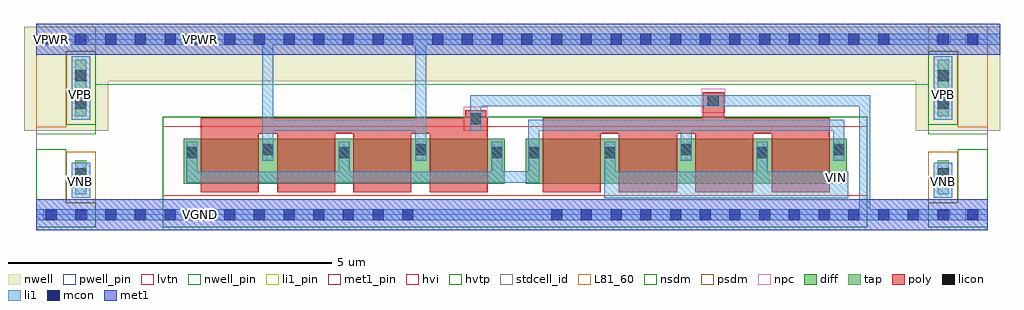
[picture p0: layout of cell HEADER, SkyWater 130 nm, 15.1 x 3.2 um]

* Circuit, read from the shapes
.subckt HEADER VGND VIN VNB VPB VPWR
XM1 VPWR VGND n1 VNB sky130_fd_pr__nfet_05v0_nvt w=0.7 l=0.9 m=4
XM2 VIN VGND n1 VNB sky130_fd_pr__nfet_05v0_nvt w=0.7 l=0.9 m=4
.ends

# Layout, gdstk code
import gdstk
lib = gdstk.Library(unit=1e-6, precision=1e-09)
def R(c, l, rs):  # rectangles x0, y0, x1, y1
    for r in rs: c.add(gdstk.rectangle(r[:2], r[2:], *l))
def A(c, l, x, y, w, h, nx, ny, dx, dy):  # array of equal rectangles
    R(c, l, [(x+i*dx, y+j*dy, x+i*dx+w, y+j*dy+h) for i in range(nx) for j in range(ny)])
nwell_pin = (64, 16)
nwell = (64, 20)
diff = (65, 20)
tap = (65, 44)
poly = (66, 20)
licon = (66, 44)
li1_pin = (67, 16)
li1 = (67, 20)
mcon = (67, 44)
met1_pin = (68, 16)
met1 = (68, 20)
hvi = (75, 20)
hvtp = (78, 44)
stdcell_id = (81, 4)
L81_60 = (81, 60)
nsdm = (93, 44)
psdm = (94, 20)
npc = (95, 20)
pwell_pin = (122, 16)
lvtn = (125, 44)

sky130_fd_sc_hd__tap_1 = lib.new_cell('sky130_fd_sc_hd__tap_1')
R(sky130_fd_sc_hd__tap_1, nwell, [(-0.19,1.305,0.65,2.91)])
R(sky130_fd_sc_hd__tap_1, tap, [(0.145,0.32,0.315,0.845), (0.145,1.525,0.315,2.4)])
R(sky130_fd_sc_hd__tap_1, licon, [(0.145,0.555,0.315,0.725), (0.145,1.645,0.315,1.815), (0.145,2.065,0.315,2.235)])
R(sky130_fd_sc_hd__tap_1, li1_pin, [(0.19,0.47,0.27,0.565), (0.145,1.81,0.285,1.93)])
R(sky130_fd_sc_hd__tap_1, li1, [(0.085,0.265,0.375,0.81), (0.085,1.47,0.375,2.455)])
R(sky130_fd_sc_hd__tap_1, mcon, [(0.145,-0.085,0.315,0.085), (0.145,2.635,0.315,2.805)])
R(sky130_fd_sc_hd__tap_1, met1_pin, [(0.14,-0.05,0.34,0.07), (0.13,2.675,0.345,2.775)])
R(sky130_fd_sc_hd__tap_1, hvtp, [(0,1.25,0.46,2.72)])
R(sky130_fd_sc_hd__tap_1, stdcell_id, [(0,0,0.46,2.72)])
R(sky130_fd_sc_hd__tap_1, nsdm, [(0,-0.19,0.46,0.19), (0,1.395,0.46,2.53)])
R(sky130_fd_sc_hd__tap_1, psdm, [(0,0.19,0.46,0.975), (0,2.53,0.46,2.91)])
sky130_fd_sc_hd__tap_1.add(gdstk.FlexPath([(0,2.72),(0.46,2.72)], 0.48, ends="flush", simple_path=True, layer=68, datatype=20))  # met1
sky130_fd_sc_hd__tap_1.add(gdstk.FlexPath([(0,0),(0.46,0)], 0.48, ends="flush", simple_path=True, layer=68, datatype=20))  # met1
sky130_fd_sc_hd__tap_1.add(gdstk.FlexPath([(0,0),(0.46,0)], 0.17, ends="flush", simple_path=True, layer=67, datatype=20))  # li1
sky130_fd_sc_hd__tap_1.add(gdstk.FlexPath([(0,2.72),(0.46,2.72)], 0.17, ends="flush", simple_path=True, layer=67, datatype=20))  # li1
sky130_fd_sc_hd__tap_1.add(gdstk.Label('VGND', (0.23,0), layer=68, texttype=5))
sky130_fd_sc_hd__tap_1.add(gdstk.Label('VPWR', (0.23,2.72), layer=68, texttype=5))
sky130_fd_sc_hd__tap_1.add(gdstk.Label('VNB', (0.23,0.51), layer=67, texttype=5))
sky130_fd_sc_hd__tap_1.add(gdstk.Label('VPB', (0.23,1.87), layer=67, texttype=5))
sky130_fd_sc_hd__tap_1.add(gdstk.Label('tap_1', (0,0), layer=83, texttype=44))

sky130_fd_sc_hd__fill_1 = lib.new_cell('sky130_fd_sc_hd__fill_1')
R(sky130_fd_sc_hd__fill_1, nwell_pin, [(0.155,2.67,0.255,2.755)])
R(sky130_fd_sc_hd__fill_1, nwell, [(-0.19,1.305,0.65,2.91)])
R(sky130_fd_sc_hd__fill_1, mcon, [(0.145,-0.085,0.315,0.085), (0.145,2.635,0.315,2.805)])
R(sky130_fd_sc_hd__fill_1, met1_pin, [(0.11,-0.065,0.29,0.08), (0.11,2.635,0.29,2.785)])
R(sky130_fd_sc_hd__fill_1, hvtp, [(0,1.25,0.46,2.72)])
R(sky130_fd_sc_hd__fill_1, stdcell_id, [(0,0,0.46,2.72)])
R(sky130_fd_sc_hd__fill_1, nsdm, [(0,-0.19,0.46,1.015)])
R(sky130_fd_sc_hd__fill_1, psdm, [(0,1.355,0.46,2.91)])
R(sky130_fd_sc_hd__fill_1, pwell_pin, [(0.14,-0.055,0.26,0.055)])
sky130_fd_sc_hd__fill_1.add(gdstk.FlexPath([(0,0),(0.46,0)], 0.17, ends="flush", simple_path=True, layer=67, datatype=20))  # li1
sky130_fd_sc_hd__fill_1.add(gdstk.FlexPath([(0,2.72),(0.46,2.72)], 0.17, ends="flush", simple_path=True, layer=67, datatype=20))  # li1
sky130_fd_sc_hd__fill_1.add(gdstk.FlexPath([(0,2.72),(0.46,2.72)], 0.48, ends="flush", simple_path=True, layer=68, datatype=20))  # met1
sky130_fd_sc_hd__fill_1.add(gdstk.FlexPath([(0,0),(0.46,0)], 0.48, ends="flush", simple_path=True, layer=68, datatype=20))  # met1
sky130_fd_sc_hd__fill_1.add(gdstk.Label('VPWR', (0.205,2.72), layer=68, texttype=5))
sky130_fd_sc_hd__fill_1.add(gdstk.Label('VGND', (0.205,0), layer=68, texttype=5))
sky130_fd_sc_hd__fill_1.add(gdstk.Label('VPB', (0.23,2.72), layer=64, texttype=5))
sky130_fd_sc_hd__fill_1.add(gdstk.Label('VNB', (0.23,0), layer=64, texttype=59))
sky130_fd_sc_hd__fill_1.add(gdstk.Label('fill_1', (0,0), layer=83, texttype=44))

header = lib.new_cell('HEADER')
R(header, nwell, [(1.11,2.07,13.61,2.91)])
R(header, diff, [(2.28,0.48,7.25,1.18), (7.57,0.48,12.54,1.18)])
A(header, poly, 2.545, 0.35, 0.9, 0.905, 4, 1, 1.18, 0)
A(header, poly, 7.835, 0.35, 0.9, 0.905, 4, 1, 1.18, 0)
R(header, poly, [(2.545,1.255,6.985,1.505), (7.835,1.255,12.275,1.505), (6.635,1.505,6.965,1.62), (10.31,1.505,10.64,1.9)])
A(header, licon, 2.32, 0.88, 0.17, 0.17, 3, 1, 2.36, 0)
R(header, licon, [(7.61,0.88,7.78,1.05), (8.79,0.88,8.96,1.05), (11.15,0.88,11.32,1.05), (3.495,0.92,3.665,1.09), (5.86,0.92,6.03,1.09), (9.97,0.92,10.14,1.09), (12.33,0.92,12.5,1.09), (6.715,1.4,6.885,1.57), (10.39,1.68,10.56,1.85)])
R(header, li1_pin, [(0.65,0.47,0.73,0.565), (13.99,0.47,14.07,0.565), (12.3,0.535,12.445,0.635), (0.65,1.83,0.73,1.925), (13.99,1.83,14.07,1.925), (0.145,2.635,0.315,2.805)])
A(header, li1, 2.32, 0.5, 0.17, 0.63, 3, 1, 2.36, 0)
R(header, li1, [(0.92,-0.085,13.8,0.085), (12.73,-0.085,12.9,1.85), (8.79,0.255,12.56,0.67), (2.49,0.5,7.21,0.67), (3.88,0.5,4.05,0.67), (7.21,0.5,7.78,0.675), (7.61,0.5,7.78,1.47), (8.79,0.5,8.96,1.13), (9.17,0.5,9.34,0.67), (11.15,0.5,11.32,1.13), (3.495,0.84,3.665,2.805), (5.86,0.84,6.03,2.805), (9.97,0.84,10.14,1.47), (12.33,0.84,12.5,1.47), (3.495,1.3,6.03,1.47), (4.66,1.3,4.83,1.47), (6.715,1.3,6.885,1.68), (7.61,1.3,12.5,1.47), (9.97,1.3,10.14,1.47), (6.715,1.68,10.56,1.85), (10.39,1.68,12.9,1.85), (0,2.635,14.91,2.805), (0.92,2.635,11.5,2.805)])
A(header, mcon, 1.065, -0.085, 0.17, 0.17, 11, 1, 0.46, 0)
A(header, mcon, 7.965, -0.085, 0.17, 0.17, 13, 1, 0.46, 0)
A(header, mcon, 1.065, 2.635, 0.17, 0.17, 27, 1, 0.46, 0)
R(header, met1_pin, [(2.45,-0.085,2.62,0.085), (2.45,2.635,2.62,2.805)])
R(header, met1, [(0.92,-0.24,13.8,0.24), (0,2.48,14.91,2.96), (0.92,2.48,11.5,2.96)])
R(header, hvi, [(1.96,0.3,12.86,1.37)])
R(header, hvtp, [(0.92,2.015,13.8,2.72)])
R(header, stdcell_id, [(0.92,0,13.8,2.72)])
R(header, L81_60, [(2.28,0.48,7.25,1.18), (7.57,0.48,12.54,1.18)])
R(header, nsdm, [(1.96,-0.19,12.86,1.515)])
R(header, npc, [(6.615,1.3,6.985,1.67), (10.29,1.58,10.66,1.95)])
R(header, lvtn, [(1.96,0.3,12.86,1.37)])
header.add(gdstk.Reference(sky130_fd_sc_hd__tap_1, (0.46,0)))
header.add(gdstk.Reference(sky130_fd_sc_hd__tap_1, (13.8,0)))
header.add(gdstk.Reference(sky130_fd_sc_hd__fill_1, (0,0)))
header.add(gdstk.Reference(sky130_fd_sc_hd__fill_1, (14.26,0)))
header.add(gdstk.Label('VPWR', (2.535,2.72), layer=68, texttype=16))
header.add(gdstk.Label('VGND', (2.535,0), layer=68, texttype=16))
header.add(gdstk.Label('VPWR', (2.53,2.72), layer=68, texttype=5))
header.add(gdstk.Label('VGND', (2.53,0), layer=68, texttype=5))
header.add(gdstk.Label('VPWR', (0.23,2.72), layer=67, texttype=5))
header.add(gdstk.Label('VPB', (0.69,1.87), layer=67, texttype=5))
header.add(gdstk.Label('VPB', (14.03,1.87), layer=67, texttype=5))
header.add(gdstk.Label('VNB', (0.69,0.51), layer=67, texttype=5))
header.add(gdstk.Label('VNB', (14.03,0.51), layer=67, texttype=5))
header.add(gdstk.Label('VIN', (12.375,0.58), layer=67, texttype=5))

lib.write_gds('HEADER.gds')
